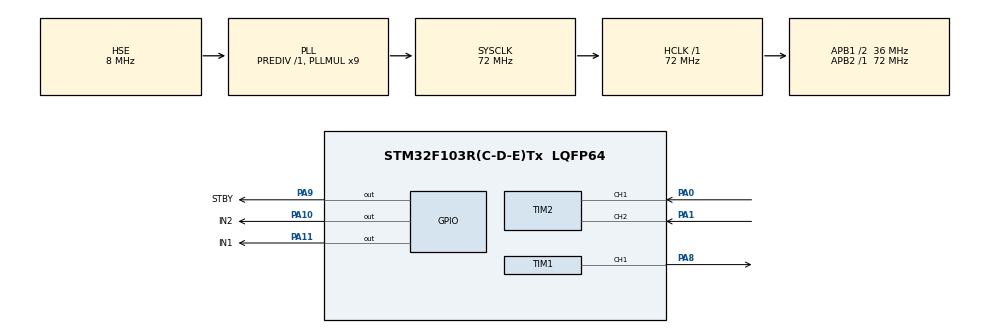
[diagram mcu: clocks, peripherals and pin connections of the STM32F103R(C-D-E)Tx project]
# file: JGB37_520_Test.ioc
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Mcu.Family=STM32F1
Mcu.Name=STM32F103R(C-D-E)Tx
Mcu.Package=LQFP64
NVIC.PriorityGroup=NVIC_PRIORITYGROUP_4
NVIC.TIM6_IRQn=true\:0\:0\:false\:false\:true\:true\:true\:true
PA0-WKUP.Signal=S_TIM2_CH1_ETR
PA1.Signal=S_TIM2_CH2
PA10.GPIO_Label=IN2
PA10.Signal=GPIO_Output
PA11.GPIO_Label=IN1
PA11.Signal=GPIO_Output
PA13.Mode=Serial_Wire
PA13.Signal=SYS_JTMS-SWDIO
PA14.Mode=Serial_Wire
PA14.Signal=SYS_JTCK-SWCLK
PA8.Signal=S_TIM1_CH1
PA9.GPIO_Label=STBY
PA9.PinState=GPIO_PIN_SET
PA9.Signal=GPIO_Output
PD0-OSC_IN.Mode=HSE-External-Oscillator
PD0-OSC_IN.Signal=RCC_OSC_IN
PD1-OSC_OUT.Mode=HSE-External-Oscillator
PD1-OSC_OUT.Signal=RCC_OSC_OUT
ProjectManager.HeapSize=0x200
ProjectManager.StackSize=0x400
ProjectManager.TargetToolchain=Makefile
RCC.AHBFreq_Value=72000000
RCC.APB1CLKDivider=RCC_HCLK_DIV2
RCC.APB1Freq_Value=36000000
RCC.APB1TimFreq_Value=72000000
RCC.APB2Freq_Value=72000000
RCC.APB2TimFreq_Value=72000000
RCC.HCLKFreq_Value=72000000
RCC.PLLMUL=RCC_PLL_MUL9
RCC.PLLSourceVirtual=RCC_PLLSOURCE_HSE
RCC.SYSCLKFreq_VALUE=72000000
RCC.SYSCLKSource=RCC_SYSCLKSOURCE_PLLCLK
RCC.USBFreq_Value=72000000
SH.S_TIM1_CH1.0=TIM1_CH1,PWM Generation1 CH1
SH.S_TIM2_CH1_ETR.0=TIM2_CH1,Encoder_Interface
SH.S_TIM2_CH2.0=TIM2_CH2,Encoder_Interface
TIM1.Channel-PWM\ Generation1\ CH1=TIM_CHANNEL_1
TIM1.Period=3600-1
TIM1.Prescaler=0
TIM2.EncoderMode=TIM_ENCODERMODE_TI12
TIM2.IC1Filter=4
TIM2.IC2Filter=4
TIM6.Period=1000-1
TIM6.Prescaler=72-1
VP_TIM6_VS_ClockSourceINT.Mode=Enable_Timer
board=custom

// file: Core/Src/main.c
/* USER CODE BEGIN Header */
/**
  ******************************************************************************
  * @file           : main.c
  * @brief          : Main program body
  ******************************************************************************
  * @attention
  *
  * Copyright (c) 2026 STMicroelectronics.
  * All rights reserved.
  *
  * This software is licensed under terms that can be found in the LICENSE file
  * in the root directory of this software component.
  * If no LICENSE file comes with this software, it is provided AS-IS.
  *
  ******************************************************************************
  */
/* USER CODE END Header */
#include "main.h"
#include "tim.h"
#include "gpio.h"

/* USER CODE BEGIN Includes */
#include "Motor.h"
#include "PID.h"
#include <math.h>
#include "Feedforward.h"
/* USER CODE END Includes */

/* USER CODE BEGIN PTD */
Feedforward_t SpeedFF;
/* ===================== PID对象 ===================== */
PidTypeDef pid_pos;
PidTypeDef pid_speed;

/* ===================== 电机对象 ===================== */
Motor_t motor;

/* USER CODE END PTD */

/* USER CODE BEGIN PD */
/* 固定采样周期 */
#define CONTROL_DT 0.001f   // 1kHz
/* USER CODE END PD */

/* USER CODE BEGIN PV */
float pwm = 0.0f;

float raw_speed = 0.0f;
float flitered_speed = 0.0f;
float flitered_speed_alpha = 0.3f;

/* ===================== PID参数 ===================== */
float pid_pos_param[3]   = {3.0f, 0.0f, 5.0f};   // 位置环
float pid_speed_param[3] = {10.0f, 1.0f, 0.0f};   // 速度环

/* ===================== 控制变量 ===================== */
float target_pos   = 0.0f;   // 目标角度 (deg)
float target_speed = 0.0f;   // 目标转速 (rpm)

float angle = 0.0f; // 当前角度 (deg)
float speed = 0.0f; // 当前转速 (rpm)

/* ===================== 正弦波测试专用变量 ===================== */
float run_time = 0.0f;           // 运行时间累计 (s)
float test_sine_freq = 2.0f;     // 测试频率: 2Hz
float test_sine_amp = 300.0f;    // 测试幅值: 300 RPM
float debug_u_ff = 0.0f;         // 记录前馈输出电压分量
float debug_u_fb = 0.0f;         // 记录反馈(PID)输出电压分量
/* USER CODE END PV */

void SystemClock_Config(void);
/* USER CODE BEGIN PFP */
void SetTargetAngle(float delta_deg)
{
    target_pos = angle + delta_deg;
}
/* USER CODE END PFP */

/* USER CODE BEGIN 0 */
void HAL_TIM_PeriodElapsedCallback(TIM_HandleTypeDef *htim)
{
    // static uint8_t pos_div = 0;
    static uint8_t speed_div = 0;

    if (htim == &htim6)
    {
        /* ===== 更新电机状态 ===== */
        Motor_Update(&motor, CONTROL_DT);

        raw_speed = Motor_GetSpeed(&motor);
        // 一阶低通滤波
        flitered_speed = (1.0f - flitered_speed_alpha) * flitered_speed
                          + flitered_speed_alpha * raw_speed;

        speed = flitered_speed;

        angle = Motor_GetAngle(&motor);

        /* ===================================================== */
        /* ================= 位置环 200Hz ======================= */
        /* ===================================================== */
        // if (++pos_div >= 5)
        // {
        //     pos_div = 0;

        //     target_speed = pid_pos.f_cal_pid(
        //         &pid_pos,
        //         angle,
        //         target_pos
        //     );
        // }

        /* ================= 外环关闭 ================= */
        /* 直接给固定速度用于调速度环 */
        target_speed = 200.0f;

        /* ===================================================== */
        /* ================= 速度环 1000Hz ======================== */
        /* ===================================================== */
        if(++speed_div >= 1)
        {
            speed_div = 0;

            float u_ff = FF_Calculate(&SpeedFF, target_speed, 0.0f);

            /* 计算PID补偿量 */
            float u_fb = pid_speed.f_cal_pid(
              &pid_speed,
              speed,
              target_speed
              );

            /* 输出汇总 (前馈前馈 + 反馈) */
            float final_output = u_ff + u_fb;

            pwm = final_output;

            // pwm = pid_speed.f_cal_pid(
            //   &pid_speed,
            //   speed,
            //   target_speed
          // );

          Motor_Set(&motor, (int16_t)pwm);

        }

        /*======开环控制======*/
        // Motor_Set(&motor, 1000);

    }
}

// void HAL_TIM_PeriodElapsedCallback(TIM_HandleTypeDef *htim)
// {
//     // static uint8_t pos_div = 0;
//     static uint8_t speed_div = 0;

//     if (htim == &htim6)
//     {
//         /* ===== 更新电机状态 ===== */
//         Motor_Update(&motor, CONTROL_DT);

//         raw_speed = Motor_GetSpeed(&motor);
//         flitered_speed = (1.0f - flitered_speed_alpha) * flitered_speed
//                           + flitered_speed_alpha * raw_speed;
//         speed = flitered_speed;
//         angle = Motor_GetAngle(&motor);

//         /* ================= 旁路位置环 ======================= */
//         /*
//         if (++pos_div >= 5) {
//             pos_div = 0;
//             target_speed = pid_pos.f_cal_pid(&pid_pos, angle, target_pos);
//         }
//         */

//         /* ================= 正弦波目标速度生成 (1000Hz) ================= */
//         run_time += CONTROL_DT; // 累加时间 (dt = 0.001s)

//         // ω_ref = A * sin(2 * π * f * t)
//         target_speed = test_sine_amp * sinf(1.0f * 3.14159265f * test_sine_freq * run_time);

//         /* ================= 速度环 1000Hz ======================== */
//         if(++speed_div >= 1)
//         {
//             speed_div = 0;

//             /* 1. 前馈计算 (传入目标速度，内部自动差分得加速度) */
//             debug_u_ff = FF_Calculate(&SpeedFF, target_speed, 0.0f);

//             /* 2. PID补偿量计算 */
//             debug_u_fb = pid_speed.f_cal_pid(&pid_speed, speed, target_speed);

//             /* 3. 输出汇总并下发 */
//             pwm = debug_u_ff + debug_u_fb;
//             // pwm = debug_u_fb;
//             Motor_Set(&motor, (int16_t)pwm);
//         }
//     }
// }

/* USER CODE END 0 */

int main(void)
{

  /* MCU Configuration--------------------------------------------------------*/

  /* Reset of all peripherals, Initializes the Flash interface and the Systick. */
  HAL_Init();

  /* Configure the system clock */
  SystemClock_Config();

  /* Initialize all configured peripherals */
  MX_GPIO_Init();
  MX_TIM1_Init();
  MX_TIM2_Init();
  MX_TIM6_Init();
  /* USER CODE BEGIN 2 */
  target_pos = Motor_GetAngle(&motor);

  /* ===================== 电机参数绑定 ===================== */
  motor.htim_pwm     = &htim1;
  motor.pwm_channel  = TIM_CHANNEL_1;
  motor.htim_encoder = &htim2;

  motor.encoder_ppr  = 44.0f;      // 电机编码器PPR
  motor.gear_ratio   = 19.0f;      // 减速比

  motor.gpio_in1_port = IN1_GPIO_Port;
  motor.gpio_in1_pin  = IN1_Pin;

  motor.gpio_in2_port = IN2_GPIO_Port;
  motor.gpio_in2_pin  = IN2_Pin;

  Motor_Init(&motor);

  /* ===================== PID初始化 ===================== */
  pid_init(&pid_pos);
  pid_init(&pid_speed);

  /* 位置环 */
  pid_pos.f_param_init(
      &pid_pos,
      PID_POSITION,
      pid_pos_param,
      200.0f,
      100.0f,
      1000.0f,
      0.0f,
      0.7f,
      0, 0
  );

  /* 速度环 */
  pid_speed.f_param_init(
      &pid_speed,
      PID_POSITION,
      pid_speed_param,
      600.0f,       // 输出限幅
      500.0f,       // 积分限幅
      100.0f,       // I分离
      1.0f,         // 死区
      0.7f,         // 微分滤波gama
      0, 0
  );

  FF_Init(&SpeedFF, 0.6849f, 0.1849f, 0.001f, 1000.0f);

  /* 启动控制定时器 */
  HAL_TIM_Base_Start_IT(&htim6);

  /* USER CODE END 2 */

  /* Infinite loop */
  /* USER CODE BEGIN WHILE */
  while (1)
  {
    // static uint8_t move_flag = 0;

    // if(move_flag == 0)
    // {
    //     HAL_Delay(100);
    //     SetTargetAngle(180.0f);   // 转180°
    //     move_flag = 1;
    // }
    /* USER CODE END WHILE */

  }
}

void SystemClock_Config(void)
{
  RCC_OscInitTypeDef RCC_OscInitStruct = {0};
  RCC_ClkInitTypeDef RCC_ClkInitStruct = {0};

  /** Initializes the RCC Oscillators according to the specified parameters
  * in the RCC_OscInitTypeDef structure.
  */
  RCC_OscInitStruct.OscillatorType = RCC_OSCILLATORTYPE_HSE;
  RCC_OscInitStruct.HSEState = RCC_HSE_ON;
  RCC_OscInitStruct.HSEPredivValue = RCC_HSE_PREDIV_DIV1;
  RCC_OscInitStruct.HSIState = RCC_HSI_ON;
  RCC_OscInitStruct.PLL.PLLState = RCC_PLL_ON;
  RCC_OscInitStruct.PLL.PLLSource = RCC_PLLSOURCE_HSE;
  RCC_OscInitStruct.PLL.PLLMUL = RCC_PLL_MUL9;
  if (HAL_RCC_OscConfig(&RCC_OscInitStruct) != HAL_OK)
  {
    Error_Handler();
  }

  /** Initializes the CPU, AHB and APB buses clocks
  */
  RCC_ClkInitStruct.ClockType = RCC_CLOCKTYPE_HCLK|RCC_CLOCKTYPE_SYSCLK
                              |RCC_CLOCKTYPE_PCLK1|RCC_CLOCKTYPE_PCLK2;
  RCC_ClkInitStruct.SYSCLKSource = RCC_SYSCLKSOURCE_PLLCLK;
  RCC_ClkInitStruct.AHBCLKDivider = RCC_SYSCLK_DIV1;
  RCC_ClkInitStruct.APB1CLKDivider = RCC_HCLK_DIV2;
  RCC_ClkInitStruct.APB2CLKDivider = RCC_HCLK_DIV1;

  if (HAL_RCC_ClockConfig(&RCC_ClkInitStruct, FLASH_LATENCY_2) != HAL_OK)
  {
    Error_Handler();
  }
}

void Error_Handler(void)
{
  __disable_irq();
  while (1)
  {
  }
}
